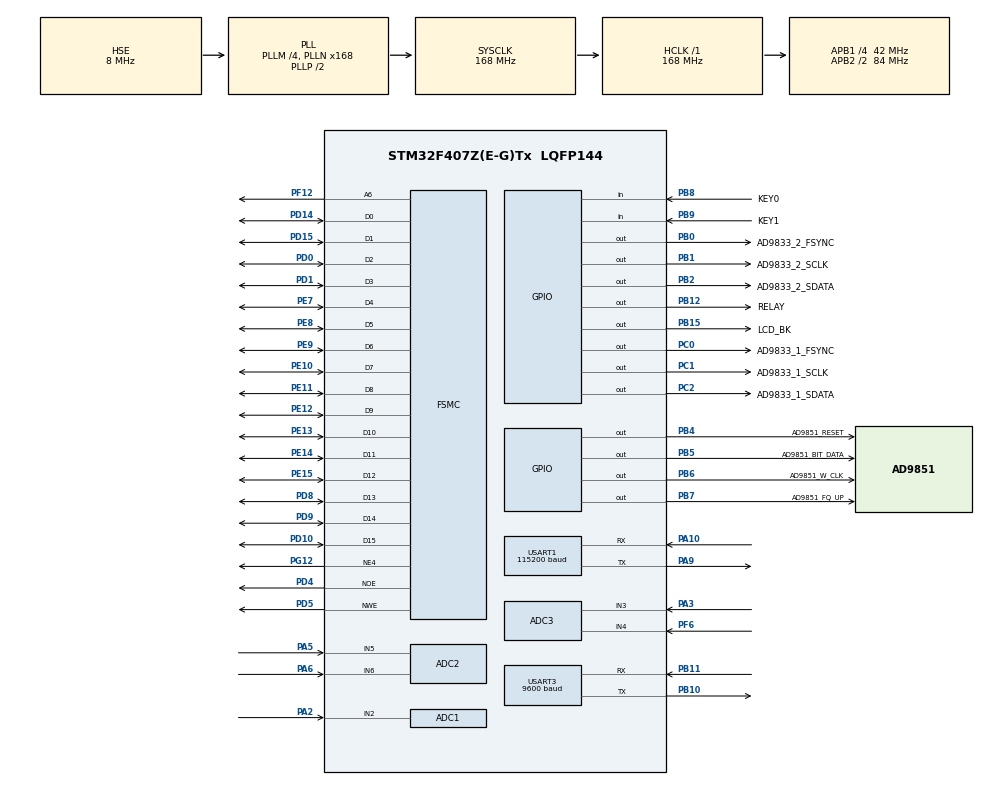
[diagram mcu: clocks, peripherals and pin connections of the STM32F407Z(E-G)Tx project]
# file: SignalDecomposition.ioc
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ADC1.Channel-0\#ChannelRegularConversion=ADC_CHANNEL_2
ADC1.Channel-1\#ChannelInjectedConversion=ADC_CHANNEL_2
ADC1.Channel-IN2=ADC_CHANNEL_2
ADC1.ClockPrescaler=ADC_CLOCK_SYNC_PCLK_DIV4
ADC1.ContinuousConvMode=DISABLE
ADC1.DMAContinuousRequests=ENABLE
ADC1.DataAlign=ADC_DATAALIGN_RIGHT
ADC1.DiscontinuousConvMode=DISABLE
ADC1.EOCSelection=ADC_EOC_SINGLE_CONV
ADC1.EnableAnalogWatchDog=false
ADC1.ExternalTrigConv=ADC_EXTERNALTRIGCONV_T2_TRGO
ADC1.ExternalTrigConvEdge=ADC_EXTERNALTRIGCONVEDGE_RISING
ADC1.ExternalTrigInjecConv=ADC_INJECTED_SOFTWARE_START
ADC1.ExternalTrigInjecConvEdge=ADC_EXTERNALTRIGINJECCONVEDGE_NONE
ADC1.InjNumberOfConversion=1
ADC1.InjectedConvMode=None
ADC1.InjectedOffset-1\#ChannelInjectedConversion=0
ADC1.InjectedRank-1\#ChannelInjectedConversion=1
ADC1.Mode=__NULL
ADC1.NbrOfConversion=1
ADC1.Rank-0\#ChannelRegularConversion=1
ADC1.Resolution=ADC_RESOLUTION_12B
ADC1.SamplingTime-0\#ChannelRegularConversion=ADC_SAMPLETIME_15CYCLES
ADC1.SamplingTime-1\#ChannelInjectedConversion=ADC_SAMPLETIME_3CYCLES
ADC1.ScanConvMode=DISABLE
ADC1.master=1
ADC2.Channel-0\#ChannelRegularConversion=ADC_CHANNEL_5
ADC2.Channel-1\#ChannelRegularConversion=ADC_CHANNEL_6
ADC2.DMAContinuousRequests=ENABLE
ADC2.ExternalTrigConv=ADC_EXTERNALTRIGCONV_T8_TRGO
ADC2.NbrOfConversion=2
ADC2.NbrOfConversionFlag=1
ADC2.Rank-0\#ChannelRegularConversion=1
ADC2.Rank-1\#ChannelRegularConversion=2
ADC2.SamplingTime-0\#ChannelRegularConversion=ADC_SAMPLETIME_3CYCLES
ADC2.SamplingTime-1\#ChannelRegularConversion=ADC_SAMPLETIME_3CYCLES
ADC2.ScanConvMode=ENABLE
ADC3.Channel-0\#ChannelRegularConversion=ADC_CHANNEL_3
ADC3.Channel-1\#ChannelRegularConversion=ADC_CHANNEL_4
ADC3.DMAContinuousRequests=ENABLE
ADC3.ExternalTrigConv=ADC_EXTERNALTRIGCONV_T8_TRGO
ADC3.NbrOfConversion=2
ADC3.NbrOfConversionFlag=1
ADC3.Rank-0\#ChannelRegularConversion=1
ADC3.Rank-1\#ChannelRegularConversion=2
ADC3.SamplingTime-0\#ChannelRegularConversion=ADC_SAMPLETIME_3CYCLES
ADC3.SamplingTime-1\#ChannelRegularConversion=ADC_SAMPLETIME_3CYCLES
Dma.ADC1.0.Direction=DMA_PERIPH_TO_MEMORY
Dma.ADC1.0.FIFOMode=DMA_FIFOMODE_DISABLE
Dma.ADC1.0.Instance=DMA2_Stream0
Dma.ADC1.0.MemDataAlignment=DMA_MDATAALIGN_HALFWORD
Dma.ADC1.0.MemInc=DMA_MINC_ENABLE
Dma.ADC1.0.Mode=DMA_NORMAL
Dma.ADC1.0.PeriphDataAlignment=DMA_PDATAALIGN_HALFWORD
Dma.ADC1.0.PeriphInc=DMA_PINC_DISABLE
Dma.ADC1.0.Priority=DMA_PRIORITY_VERY_HIGH
Dma.ADC2.3.Direction=DMA_PERIPH_TO_MEMORY
Dma.ADC2.3.FIFOMode=DMA_FIFOMODE_DISABLE
Dma.ADC2.3.Instance=DMA2_Stream2
Dma.ADC2.3.MemDataAlignment=DMA_MDATAALIGN_HALFWORD
Dma.ADC2.3.MemInc=DMA_MINC_ENABLE
Dma.ADC2.3.Mode=DMA_NORMAL
Dma.ADC2.3.PeriphDataAlignment=DMA_PDATAALIGN_HALFWORD
Dma.ADC2.3.PeriphInc=DMA_PINC_DISABLE
Dma.ADC2.3.Priority=DMA_PRIORITY_LOW
Dma.ADC3.4.Direction=DMA_PERIPH_TO_MEMORY
Dma.ADC3.4.FIFOMode=DMA_FIFOMODE_DISABLE
Dma.ADC3.4.Instance=DMA2_Stream1
Dma.ADC3.4.MemDataAlignment=DMA_MDATAALIGN_HALFWORD
Dma.ADC3.4.MemInc=DMA_MINC_ENABLE
Dma.ADC3.4.Mode=DMA_NORMAL
Dma.ADC3.4.PeriphDataAlignment=DMA_PDATAALIGN_HALFWORD
Dma.ADC3.4.PeriphInc=DMA_PINC_DISABLE
Dma.ADC3.4.Priority=DMA_PRIORITY_LOW
Dma.Request0=ADC1
Dma.Request1=USART3_RX
Dma.Request2=USART3_TX
Dma.Request3=ADC2
Dma.Request4=ADC3
Dma.USART3_RX.1.Direction=DMA_PERIPH_TO_MEMORY
Dma.USART3_RX.1.FIFOMode=DMA_FIFOMODE_DISABLE
Dma.USART3_RX.1.Instance=DMA1_Stream1
Dma.USART3_RX.1.MemDataAlignment=DMA_MDATAALIGN_BYTE
Dma.USART3_RX.1.MemInc=DMA_MINC_ENABLE
Dma.USART3_RX.1.Mode=DMA_NORMAL
Dma.USART3_RX.1.PeriphDataAlignment=DMA_PDATAALIGN_BYTE
Dma.USART3_RX.1.PeriphInc=DMA_PINC_DISABLE
Dma.USART3_RX.1.Priority=DMA_PRIORITY_LOW
Dma.USART3_TX.2.Direction=DMA_MEMORY_TO_PERIPH
Dma.USART3_TX.2.FIFOMode=DMA_FIFOMODE_DISABLE
Dma.USART3_TX.2.Instance=DMA1_Stream3
Dma.USART3_TX.2.MemDataAlignment=DMA_MDATAALIGN_BYTE
Dma.USART3_TX.2.MemInc=DMA_MINC_ENABLE
Dma.USART3_TX.2.Mode=DMA_NORMAL
Dma.USART3_TX.2.PeriphDataAlignment=DMA_PDATAALIGN_BYTE
Dma.USART3_TX.2.PeriphInc=DMA_PINC_DISABLE
Dma.USART3_TX.2.Priority=DMA_PRIORITY_LOW
FSMC.AddressSetupTime1=15
FSMC.BusTurnAroundDuration1=0
FSMC.DataSetupTime1=24
FSMC.ExtendedMode1=FSMC_EXTENDED_MODE_DISABLE
FSMC.MemoryType1=FSMC_MEMORY_TYPE_SRAM
FSMC.NSBank1=FSMC_NORSRAM_BANK4
FSMC.WriteOperation1=FSMC_WRITE_OPERATION_ENABLE
Mcu.Family=STM32F4
Mcu.Name=STM32F407Z(E-G)Tx
Mcu.Package=LQFP144
NVIC.DMA1_Stream1_IRQn=true\:0\:0\:false\:false\:true\:false\:true\:true
NVIC.DMA1_Stream3_IRQn=true\:0\:0\:false\:false\:true\:false\:true\:true
NVIC.DMA2_Stream0_IRQn=true\:0\:0\:false\:false\:true\:false\:true\:true
NVIC.DMA2_Stream1_IRQn=true\:0\:0\:false\:false\:true\:false\:true\:true
NVIC.DMA2_Stream2_IRQn=true\:0\:0\:false\:false\:true\:false\:true\:true
NVIC.PriorityGroup=NVIC_PRIORITYGROUP_4
NVIC.USART1_IRQn=true\:0\:0\:false\:false\:true\:true\:true\:true
NVIC.USART3_IRQn=true\:0\:0\:false\:false\:true\:true\:true\:true
PA10.Mode=Asynchronous
PA10.Signal=USART1_RX
PA13.Mode=Serial_Wire
PA13.Signal=SYS_JTMS-SWDIO
PA14.Mode=Serial_Wire
PA14.Signal=SYS_JTCK-SWCLK
PA2.Signal=ADCx_IN2
PA3.Signal=ADCx_IN3
PA5.Signal=ADCx_IN5
PA6.Signal=ADCx_IN6
PA9.Mode=Asynchronous
PA9.Signal=USART1_TX
PB0.GPIO_Label=AD9833_2_FSYNC
PB0.GPIO_Speed=GPIO_SPEED_FREQ_HIGH
PB0.Signal=GPIO_Output
PB1.GPIO_Label=AD9833_2_SCLK
PB1.GPIO_Speed=GPIO_SPEED_FREQ_HIGH
PB1.Signal=GPIO_Output
PB10.Mode=Asynchronous
PB10.Signal=USART3_TX
PB11.Mode=Asynchronous
PB11.Signal=USART3_RX
PB12.GPIO_Label=RELAY
PB12.GPIO_Speed=GPIO_SPEED_FREQ_HIGH
PB12.Signal=GPIO_Output
PB15.GPIO_Label=LCD_BK
PB15.Signal=GPIO_Output
PB2.GPIO_Label=AD9833_2_SDATA
PB2.Signal=GPIO_Output
PB4.GPIO_Label=AD9851_RESET
PB4.GPIO_Speed=GPIO_SPEED_FREQ_HIGH
PB4.Signal=GPIO_Output
PB5.GPIO_Label=AD9851_BIT_DATA
PB5.GPIO_Speed=GPIO_SPEED_FREQ_HIGH
PB5.Signal=GPIO_Output
PB6.GPIO_Label=AD9851_W_CLK
PB6.GPIO_Speed=GPIO_SPEED_FREQ_HIGH
PB6.Signal=GPIO_Output
PB7.GPIO_Label=AD9851_FQ_UP
PB7.GPIO_Speed=GPIO_SPEED_FREQ_HIGH
PB7.Signal=GPIO_Output
PB8.GPIO_Label=KEY0
PB8.GPIO_PuPd=GPIO_PULLUP
PB8.Signal=GPIO_Input
PB9.GPIO_Label=KEY1
PB9.GPIO_PuPd=GPIO_PULLUP
PB9.Signal=GPIO_Input
PC0.GPIO_Label=AD9833_1_FSYNC
PC0.GPIO_Speed=GPIO_SPEED_FREQ_HIGH
PC0.Signal=GPIO_Output
PC1.GPIO_Label=AD9833_1_SCLK
PC1.Signal=GPIO_Output
PC2.GPIO_Label=AD9833_1_SDATA
PC2.GPIO_Speed=GPIO_SPEED_FREQ_HIGH
PC2.Signal=GPIO_Output
PD0.Signal=FSMC_D2_DA2
PD1.Signal=FSMC_D3_DA3
PD10.Signal=FSMC_D15_DA15
PD14.Signal=FSMC_D0_DA0
PD15.Signal=FSMC_D1_DA1
PD4.Signal=FSMC_NOE
PD5.Signal=FSMC_NWE
PD8.Signal=FSMC_D13_DA13
PD9.Signal=FSMC_D14_DA14
PE10.Signal=FSMC_D7_DA7
PE11.Signal=FSMC_D8_DA8
PE12.Signal=FSMC_D9_DA9
PE13.Signal=FSMC_D10_DA10
PE14.Signal=FSMC_D11_DA11
PE15.Signal=FSMC_D12_DA12
PE7.Signal=FSMC_D4_DA4
PE8.Signal=FSMC_D5_DA5
PE9.Signal=FSMC_D6_DA6
PF12.Signal=FSMC_A6
PF6.Mode=IN4
PF6.Signal=ADC3_IN4
PG12.Mode=NorPsramChipSelect4_1
PG12.Signal=FSMC_NE4
PH0-OSC_IN.Mode=HSE-External-Oscillator
PH0-OSC_IN.Signal=RCC_OSC_IN
PH1-OSC_OUT.Mode=HSE-External-Oscillator
PH1-OSC_OUT.Signal=RCC_OSC_OUT
ProjectManager.HeapSize=0x200
ProjectManager.StackSize=0x400
ProjectManager.TargetToolchain=MDK-ARM V5.27
RCC.48MHZClocksFreq_Value=84000000
RCC.AHBFreq_Value=168000000
RCC.APB1CLKDivider=RCC_HCLK_DIV4
RCC.APB1Freq_Value=42000000
RCC.APB1TimFreq_Value=84000000
RCC.APB2CLKDivider=RCC_HCLK_DIV2
RCC.APB2Freq_Value=84000000
RCC.APB2TimFreq_Value=168000000
RCC.CortexFreq_Value=168000000
RCC.FLatency=FLASH_LATENCY_5
RCC.HCLKFreq_Value=168000000
RCC.HSE_VALUE=8000000
RCC.HSI_VALUE=16000000
RCC.LSE_VALUE=32768
RCC.PLLM=4
RCC.PLLN=168
RCC.PLLSourceVirtual=RCC_PLLSOURCE_HSE
RCC.SYSCLKFreq_VALUE=168000000
RCC.SYSCLKSource=RCC_SYSCLKSOURCE_PLLCLK
RCC.VCOOutputFreq_Value=336000000
SH.ADCx_IN2.0=ADC1_IN2,IN2
SH.ADCx_IN3.0=ADC3_IN3,IN3
SH.ADCx_IN5.0=ADC2_IN5,IN5
SH.ADCx_IN6.0=ADC2_IN6,IN6
SH.FSMC_A6.0=FSMC_A6,A6_1
SH.FSMC_D0_DA0.0=FSMC_D0,16b-d1
SH.FSMC_D10_DA10.0=FSMC_D10,16b-d1
SH.FSMC_D11_DA11.0=FSMC_D11,16b-d1
SH.FSMC_D12_DA12.0=FSMC_D12,16b-d1
SH.FSMC_D13_DA13.0=FSMC_D13,16b-d1
SH.FSMC_D14_DA14.0=FSMC_D14,16b-d1
SH.FSMC_D15_DA15.0=FSMC_D15,16b-d1
SH.FSMC_D1_DA1.0=FSMC_D1,16b-d1
SH.FSMC_D2_DA2.0=FSMC_D2,16b-d1
SH.FSMC_D3_DA3.0=FSMC_D3,16b-d1
SH.FSMC_D4_DA4.0=FSMC_D4,16b-d1
SH.FSMC_D5_DA5.0=FSMC_D5,16b-d1
SH.FSMC_D6_DA6.0=FSMC_D6,16b-d1
SH.FSMC_D7_DA7.0=FSMC_D7,16b-d1
SH.FSMC_D8_DA8.0=FSMC_D8,16b-d1
SH.FSMC_D9_DA9.0=FSMC_D9,16b-d1
SH.FSMC_NOE.0=FSMC_NOE,Lcd1
SH.FSMC_NWE.0=FSMC_NWE,Lcd1
STMicroelectronics.X-CUBE-ALGOBUILD.1.4.0.LibraryCcDSPOoLibraryJjDSPOoLibrary=true
TIM2.AutoReloadPreload=TIM_AUTORELOAD_PRELOAD_ENABLE
TIM2.ClockDivision=TIM_CLOCKDIVISION_DIV1
TIM2.CounterMode=TIM_COUNTERMODE_UP
TIM2.Period=104
TIM2.Prescaler=0
TIM2.TIM_MasterOutputTrigger=TIM_TRGO_UPDATE
TIM2.TIM_MasterSlaveMode=TIM_MASTERSLAVEMODE_DISABLE
TIM8.AutoReloadPreload=TIM_AUTORELOAD_PRELOAD_ENABLE
TIM8.Period=83
TIM8.TIM_MasterOutputTrigger=TIM_TRGO_UPDATE
USART1.BaudRate=115200
USART1.Mode=MODE_TX_RX
USART1.OverSampling=UART_OVERSAMPLING_16
USART1.Parity=PARITY_NONE
USART1.StopBits=STOPBITS_1
USART1.VirtualMode=VM_ASYNC
USART1.WordLength=WORDLENGTH_8B
USART3.BaudRate=9600
USART3.VirtualMode=VM_ASYNC
VP_STMicroelectronics.X-CUBE-ALGOBUILD_VS_DSPOoLibraryJjLibrary_1.4.0_1.4.0.Mode=DSPOoLibraryJjLibrary
VP_TIM2_VS_ClockSourceINT.Mode=Internal
VP_TIM8_VS_ClockSourceINT.Mode=Internal
board=custom

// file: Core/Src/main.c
/* USER CODE BEGIN Header */
/**
  ******************************************************************************
  * @file           : main.c
  * @brief          : Main program body
  ******************************************************************************
  * @attention
  *
  * Copyright (c) 2025 STMicroelectronics.
  * All rights reserved.
  *
  * This software is licensed under terms that can be found in the LICENSE file
  * in the root directory of this software component.
  * If no LICENSE file comes with this software, it is provided AS-IS.
  *
  ******************************************************************************
  */
/* USER CODE END Header */
#include "main.h"
#include "adc.h"
#include "dma.h"
#include "tim.h"
#include "usart.h"
#include "gpio.h"
#include "fsmc.h"

/* USER CODE BEGIN Includes */
#include "./ad9833/bsp_ad9833.h"
#include "./x9cxxx/bsp_x9cxxx.h"
#include "./lcd/lcd.h"
#include "./data_process.h"
#include "./key/key.h"
#include <stdio.h>

/* USER CODE END Includes */

/* USER CODE BEGIN PTD */
extern uint32_t FTW1_cur;
extern uint32_t FTW2_cur;
uint16_t output_ready = 0;
extern uint8_t g_phase_valid;
/* USER CODE END PTD */

void SystemClock_Config(void);

int main(void)
{

  /* MCU Configuration--------------------------------------------------------*/

  /* Reset of all peripherals, Initializes the Flash interface and the Systick. */
  HAL_Init();

  /* Configure the system clock */
  SystemClock_Config();

  /* Initialize all configured peripherals */
  MX_GPIO_Init();
  MX_DMA_Init();
  MX_ADC1_Init();
  MX_USART1_UART_Init();
  MX_FSMC_Init();
  MX_TIM2_Init();
  MX_USART3_UART_Init();
  MX_ADC2_Init();
  MX_ADC3_Init();
  MX_TIM8_Init();
  /* USER CODE BEGIN 2 */
  //AD9833_1_Init();
  //AD9833_2_Init();
  LCD_Init();
  HAL_UART_Transmit(&huart3, (uint8_t *)"Hello, USART3!\r\n", 16, 100);
  printf("LCD ID:%04X\r\n", lcddev.id);
  LCD_ShowString(10, 10, 200, 16, 16, (uint8_t*)"Hello LCD!");
  AD9833_1_GPIO_Init();//IO口及AD9833寄存器初始化
  AD9833_1_Reset();
  //AD9833_1_Config(10000.0,AD9833_OUT_TRIANGLE,0);//写输出频率10000.0Hz,输出三角波
  AD9833_2_GPIO_Init();//IO口及AD9833寄存器初始化
  AD9833_2_Reset();
  //AD9833_2_Config(10000.0,AD9833_OUT_SINUS,0);//写输出频率10000.0Hz,输出正弦波
  /* USER CODE END 2 */

  /* Infinite loop */
  /* USER CODE BEGIN WHILE */
  static uint8_t phase_inited = 1;
  while (1)
  {
	  if(g_phase_valid)
	  {
		  if(phase_inited)
		  {
			  config_digital_potentiometer();
			  phase_inited = 0;
		  }

		  //g_phase_valid = 0;
	  }
	  Detect_KeyPress();
	  if(signal_decomposition_flag == 1)
	  {
		signal_decomposition_flag = 0;
		Data_Process();
		output_ready = 1;
	  }
	  if(output_ready)
	  {
		  //Calibration_Frequency();
	  }

    /* USER CODE END WHILE */

  }
}

void SystemClock_Config(void)
{
  RCC_OscInitTypeDef RCC_OscInitStruct = {0};
  RCC_ClkInitTypeDef RCC_ClkInitStruct = {0};

  /** Configure the main internal regulator output voltage
  */
  __HAL_RCC_PWR_CLK_ENABLE();
  __HAL_PWR_VOLTAGESCALING_CONFIG(PWR_REGULATOR_VOLTAGE_SCALE1);

  /** Initializes the RCC Oscillators according to the specified parameters
  * in the RCC_OscInitTypeDef structure.
  */
  RCC_OscInitStruct.OscillatorType = RCC_OSCILLATORTYPE_HSE;
  RCC_OscInitStruct.HSEState = RCC_HSE_ON;
  RCC_OscInitStruct.PLL.PLLState = RCC_PLL_ON;
  RCC_OscInitStruct.PLL.PLLSource = RCC_PLLSOURCE_HSE;
  RCC_OscInitStruct.PLL.PLLM = 4;
  RCC_OscInitStruct.PLL.PLLN = 168;
  RCC_OscInitStruct.PLL.PLLP = RCC_PLLP_DIV2;
  RCC_OscInitStruct.PLL.PLLQ = 4;
  if (HAL_RCC_OscConfig(&RCC_OscInitStruct) != HAL_OK)
  {
    Error_Handler();
  }

  /** Initializes the CPU, AHB and APB buses clocks
  */
  RCC_ClkInitStruct.ClockType = RCC_CLOCKTYPE_HCLK|RCC_CLOCKTYPE_SYSCLK
                              |RCC_CLOCKTYPE_PCLK1|RCC_CLOCKTYPE_PCLK2;
  RCC_ClkInitStruct.SYSCLKSource = RCC_SYSCLKSOURCE_PLLCLK;
  RCC_ClkInitStruct.AHBCLKDivider = RCC_SYSCLK_DIV1;
  RCC_ClkInitStruct.APB1CLKDivider = RCC_HCLK_DIV4;
  RCC_ClkInitStruct.APB2CLKDivider = RCC_HCLK_DIV2;

  if (HAL_RCC_ClockConfig(&RCC_ClkInitStruct, FLASH_LATENCY_5) != HAL_OK)
  {
    Error_Handler();
  }
}

void Error_Handler(void)
{
  __disable_irq();
  while (1)
  {
  }
}
